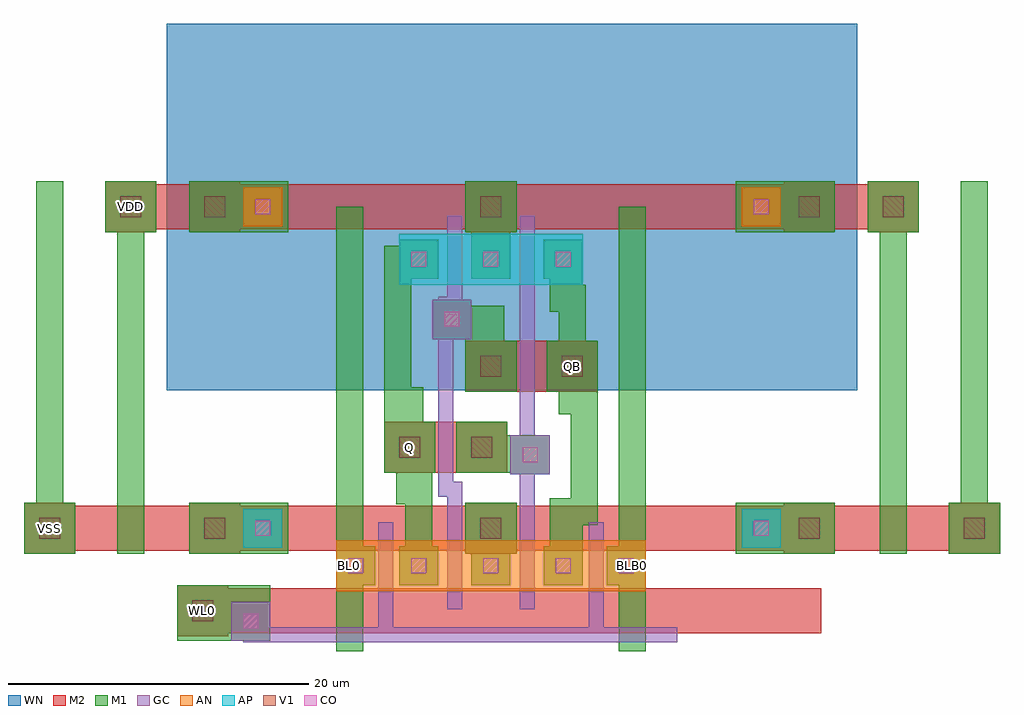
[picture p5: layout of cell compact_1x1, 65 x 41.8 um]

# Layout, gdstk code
import gdstk
lib = gdstk.Library(unit=1e-6, precision=1e-07)
def R(c, l, rs):  # rectangles x0, y0, x1, y1
    for r in rs: c.add(gdstk.rectangle(r[:2], r[2:], *l))
def A(c, l, x, y, w, h, nx, ny, dx, dy):  # array of equal rectangles
    R(c, l, [(x+i*dx, y+j*dy, x+i*dx+w, y+j*dy+h) for i in range(nx) for j in range(ny)])
def P(c, l, *ps):  # polygons
    for p in ps: c.add(gdstk.Polygon(p, *l))
AP = (3, 1)
AN = (3, 2)
GC = (8, 1)
CO = (11, 0)
M1 = (13, 0)
V1 = (19, 0)
M2 = (20, 0)
WN = (140, 0)

compact_core = lib.new_cell('compact_core')
R(compact_core, AP, [(3.5,18.7,15.7,22.1)])
R(compact_core, AN, [(-0.7,-1.7,19.9,1.7)])
R(compact_core, GC, [(0,-5.1,22,-4.1), (2.1,-5.1,3.1,2.9), (16.1,-5.1,17.1,2.9), (6.7,-2.9,7.7,5.6), (11.5,-2.9,12.5,23.3), (6.1,4.6,7.7,5.6), (6.1,4.6,7.1,17.9), (10.9,6.1,13.5,8.7), (11.5,6.9,12.7,7.9), (5.7,15.1,8.3,17.7), (6.1,15.9,7.5,16.9), (6.1,16.9,7.7,17.9), (6.7,16.9,7.7,23.3)])
A(compact_core, CO, 4.3, -0.5, 1, 1, 3, 2, 4.8, 20.4)
R(compact_core, CO, [(0.1,-0.5,1.1,0.5), (18.1,-0.5,19.1,0.5), (11.7,6.9,12.7,7.9), (6.5,15.9,7.5,16.9)])
P(compact_core, M1, [(8.3,-1.3),(8.3,0.8),(7.9,0.8),(7.9,4.2),(11.3,4.2),(11.3,0.8),(10.9,0.8),(10.9,-1.3)],
  [(10.9,6.1),(10.9,6.2),(7.3,6.2),(7.3,9.6),(10.7,9.6),(10.7,8.7),(13.5,8.7),(13.5,6.1)],
  [(7.9,11.6),(7.9,15.1),(5.7,15.1),(5.7,17.7),(8.3,17.7),(8.3,17.3),(10.5,17.3),(10.5,15),(11.3,15),(11.3,11.6)],
  [(3.5,-1.3),(3.5,1.3),(3.9,1.3),(3.9,4.1),(3.3,4.1),(3.3,6.2),(2.5,6.2),(2.5,21.3),(3.5,21.3),(3.5,21.7),(6.1,21.7),(6.1,19.1),(4.3,19.1),(4.3,11.9),(5.1,11.9),(5.1,9.6),(5.9,9.6),(5.9,6.2),(5.7,6.2),(5.7,1.3),(6.1,1.3),(6.1,-1.3)],
  [(13.1,-1.3),(13.1,1.3),(13.5,1.3),(13.5,4.5),(14.9,4.5),(14.9,10.1),(14.1,10.1),(14.1,11.6),(13.3,11.6),(13.3,15),(14.1,15),(14.1,16.9),(13.5,16.9),(13.5,19.1),(13.1,19.1),(13.1,21.7),(15.7,21.7),(15.7,18.7),(15.9,18.7),(15.9,15),(16.7,15),(16.7,2.7),(15.7,2.7),(15.7,-1.3)],
  [(-0.7,-5.7),(-0.7,23.9),(1.1,23.9),(1.1,1.3),(1.9,1.3),(1.9,-1.3),(1.1,-1.3),(1.1,-5.7)],
  [(18.1,-5.7),(18.1,-1.3),(17.3,-1.3),(17.3,1.3),(18.1,1.3),(18.1,23.9),(19.9,23.9),(19.9,-5.7)],
  [(8.3,19.1),(8.3,22.2),(7.9,22.2),(7.9,25.6),(11.3,25.6),(11.3,22.2),(10.9,22.2),(10.9,19.1)])
R(compact_core, V1, [(8.9,1.8,10.3,3.2), (3.5,7.2,4.9,8.6), (8.3,7.2,9.7,8.6), (8.9,12.6,10.3,14), (14.3,12.6,15.7,14), (8.9,23.2,10.3,24.6)])
R(compact_core, M2, [(0,-4.5,22,-1.5), (7.9,0.8,11.3,4.2), (0,1,22,4), (2.5,6.2,5.9,9.6), (2.5,6.2,10.7,9.6), (7.3,6.2,10.7,9.6), (7.9,11.6,11.3,15), (7.9,11.6,16.7,15), (13.3,11.6,16.7,15), (7.9,22.2,11.3,25.6), (0,22.4,22,25.4)])
R(compact_core, WN, [(-3.5,11.7,25.5,29.1)])

compact_1x1 = lib.new_cell('compact_1x1')
R(compact_1x1, AP, [(-6.9,6.9,-4.3,9.5), (26.3,6.9,28.9,9.5)])
R(compact_1x1, AN, [(-6.9,28.3,-4.3,30.9), (26.3,28.3,28.9,30.9)])
R(compact_1x1, GC, [(-6.9,0.6,-5.9,2.5), (-6.4,0.6,0,1.6), (-7.7,0.7,-5.1,3.3)])
R(compact_1x1, CO, [(-6.9,1.5,-5.9,2.5), (-6.1,7.7,-5.1,8.7), (27.1,7.7,28.1,8.7), (-6.1,29.1,-5.1,30.1), (27.1,29.1,28.1,30.1)])
R(compact_1x1, M1, [(-11.3,0.7,-5.1,4.4), (-7.7,0.7,-5.1,3.3), (-11.3,1,-7.9,4.4), (-21.5,6.5,-18.1,9.9), (-20.7,6.5,-18.9,31.3), (-15.3,6.5,-13.5,31.3), (-10.5,6.5,-7.1,9.9), (-10.5,6.5,-3.9,9.9), (25.9,6.5,32.5,9.9), (29.1,6.5,32.5,9.9), (35.5,6.5,37.3,31.3), (40.1,6.5,43.5,9.9), (40.9,6.5,42.7,31.3), (-6.9,6.9,-4.3,9.5), (26.3,6.9,28.9,9.5), (-16.1,27.9,-12.7,31.3), (-10.5,27.9,-7.1,31.3), (-10.5,27.9,-3.9,31.3), (25.9,27.9,32.5,31.3), (29.1,27.9,32.5,31.3), (34.7,27.9,38.1,31.3), (-6.9,28.3,-4.3,30.9), (26.3,28.3,28.9,30.9)])
R(compact_1x1, V1, [(-10.3,2,-8.9,3.4), (-20.5,7.5,-19.1,8.9), (-9.5,7.5,-8.1,8.9), (30.1,7.5,31.5,8.9), (41.1,7.5,42.5,8.9), (-15.1,28.9,-13.7,30.3), (-9.5,28.9,-8.1,30.3), (30.1,28.9,31.5,30.3), (35.7,28.9,37.1,30.3)])
R(compact_1x1, M2, [(-11.3,1,-7.9,4.4), (-9.6,1.2,31.6,4.2), (-21.5,6.5,-18.1,9.9), (-10.5,6.5,-7.1,9.9), (29.1,6.5,32.5,9.9), (40.1,6.5,43.5,9.9), (-21.5,6.7,23.7,9.7), (-1.7,6.7,43.5,9.7), (-16.1,27.9,-12.7,31.3), (-10.5,27.9,-7.1,31.3), (29.1,27.9,32.5,31.3), (34.7,27.9,38.1,31.3), (-16.1,28.1,23.7,31.1), (-1.7,28.1,38.1,31.1)])
R(compact_1x1, WN, [(-12,17.4,34,41.8), (0,17.4,34,41.8)])
compact_1x1.add(gdstk.Reference(compact_core, (0,5.7)))
compact_1x1.add(gdstk.Label('WL0', (-9.6,2.7), layer=49, texttype=0))
compact_1x1.add(gdstk.Label('VDD', (-14.4,29.6), layer=48, texttype=0))
compact_1x1.add(gdstk.Label('VSS', (-19.8,8.2), layer=48, texttype=0))
compact_1x1.add(gdstk.Label('BL0', (0.2,5.7), layer=48, texttype=0))
compact_1x1.add(gdstk.Label('BLB0', (19,5.7), layer=48, texttype=0))
compact_1x1.add(gdstk.Label('Q', (4.2,13.6), layer=48, texttype=0))
compact_1x1.add(gdstk.Label('QB', (15,19), layer=48, texttype=0))

lib.write_gds('compact_1x1.gds')
